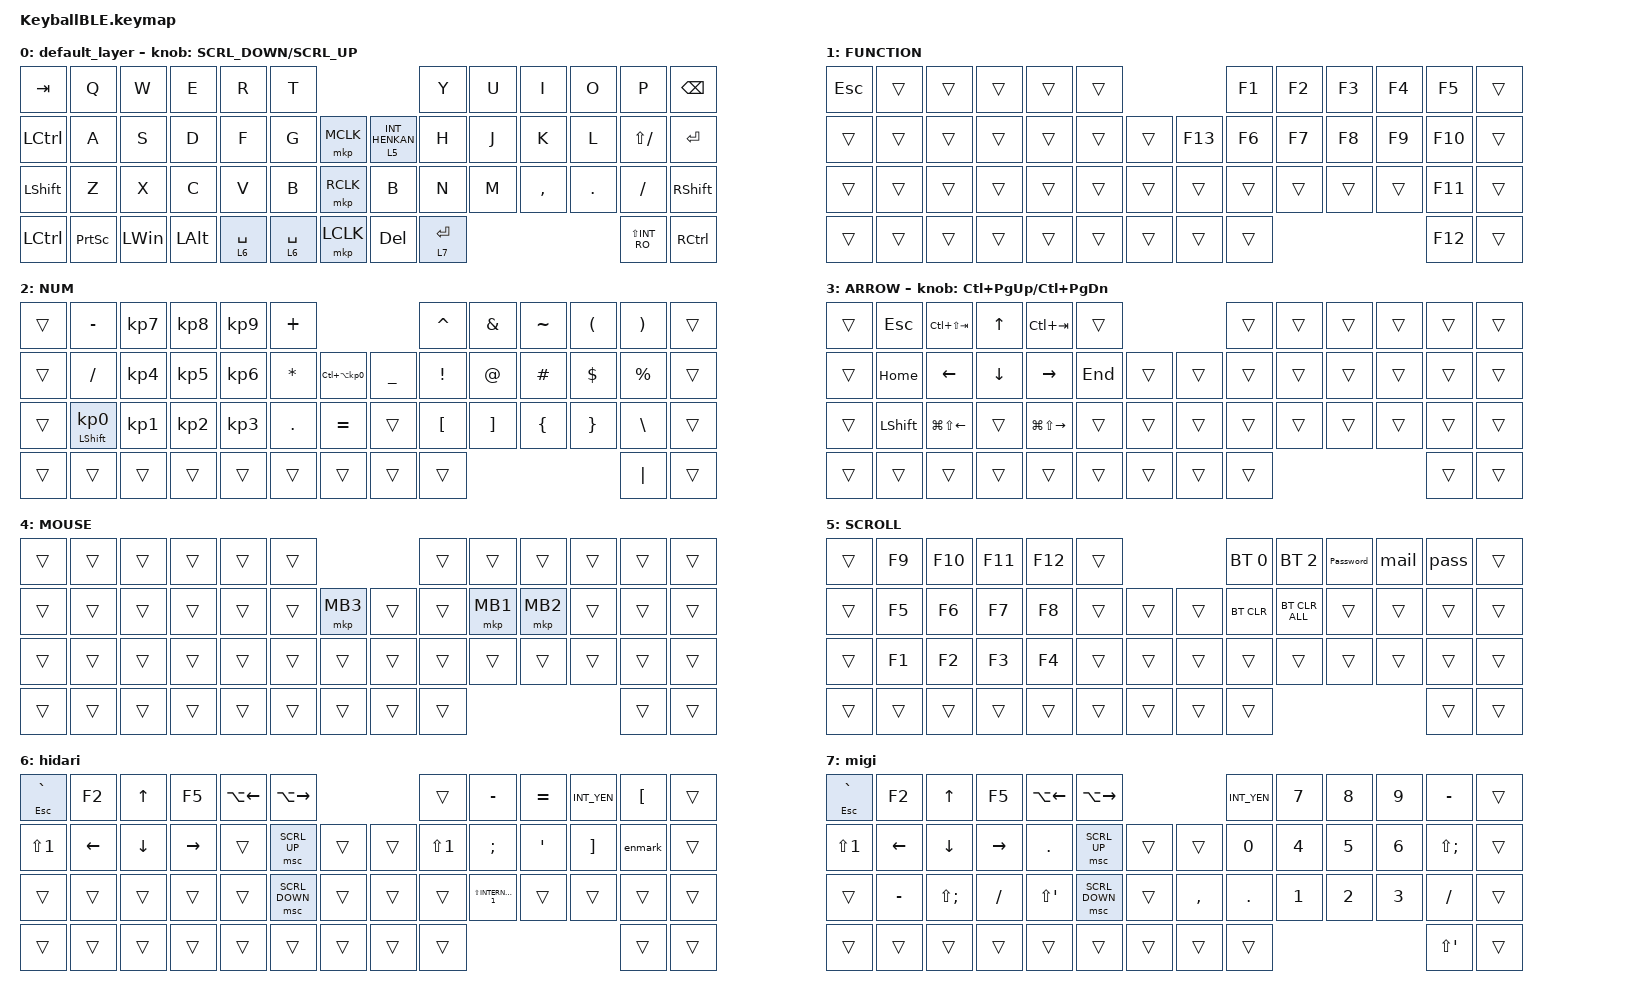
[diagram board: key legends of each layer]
#define ZMK_POINTING_DEFAULT_SCRL_VAL 100    // default: 10

#include <behaviors.dtsi>
#include <dt-bindings/zmk/bt.h>
#include <dt-bindings/zmk/keys.h>
#include <dt-bindings/zmk/pointing.h>

#define MOUSE 4
#define SCROLL 5
#define NUM 6

&mt {
    flavor = "balanced";
    quick-tap-ms = <0>;
};

/ {
    combos {
        compatible = "zmk,combos";

        double_quotation {
            bindings = <&kp DOUBLE_QUOTES>;
            key-positions = <20 21>;
        };
    };

    macros {
        to_layer_0: to_layer_0 {
            compatible = "zmk,behavior-macro-one-param";
            #binding-cells = <1>;
            bindings = <&to 0 &macro_param_1to1 &kp MACRO_PLACEHOLDER>;
            label = "TO_LAYER_0";
        };

        enmark: enmark {
            compatible = "zmk,behavior-macro";
            #binding-cells = <0>;
            bindings = <&kp BSLH>;
            label = "ENMARK";
        };

        under: under {
            compatible = "zmk,behavior-macro";
            #binding-cells = <0>;
            bindings = <&kp UNDERSCORE>;
            label = "UNDER";
        };

        pass: pass {
            compatible = "zmk,behavior-macro";
            #binding-cells = <0>;
            bindings = <&kp LS(K) &kp K &kp N1 &kp N9 &kp N0 &kp N0 &kp N9 &kp N1 &kp K &kp LS(K) &kp LBKT>;
            label = "PASS";
        };

        mail: mail {
            compatible = "zmk,behavior-macro";
            #binding-cells = <0>;
            bindings = <&kp K &kp A &kp W &kp A &kp S &kp A &kp K &kp I &kp DOT &kp K &kp E &kp N &kp O &kp LBKT &kp N &kp E &kp S &kp I &kp C &kp DOT &kp C &kp O &kp M>;
            label = "MAIL";
        };

        Password: new_macro {
            compatible = "zmk,behavior-macro";
            #binding-cells = <0>;
            bindings = <&kp LS(P) &kp LBKT &kp S &kp S &kp W &kp N0 &kp R &kp D>;
            label = "NEW_MACRO";
        };
    };

    behaviors {
        lt_to_layer_0: lt_to_layer_0 {
            compatible = "zmk,behavior-hold-tap";
            label = "LAYER_TAP_TO_0";
            bindings = <&mo>, <&to_layer_0>;

            #binding-cells = <2>;
            tapping-term-ms = <200>;
        };

        ROTATE: ROTATE {
            compatible = "zmk,behavior-sensor-rotate-var";
            label = "ROTATE";
            #sensor-binding-cells = <2>;
            bindings = <&msc>, <&msc>;

            tap-ms = <20>;
        };
    };

    keymap {
        compatible = "zmk,keymap";

        default_layer {
            bindings = <
&kp TAB    &kp Q            &kp W         &kp E         &kp R        &kp T                                       &kp Y        &kp U  &kp I      &kp O    &kp P           &kp BACKSPACE
&kp LCTRL  &kp A            &kp S         &kp D         &kp F        &kp G        &mkp MCLK    &lt 5 INT_HENKAN  &kp H        &kp J  &kp K      &kp L    &kp LS(SLASH)   &kp ENTER
&kp LSHFT  &kp Z            &kp X         &kp C         &kp V        &kp B        &mkp RCLK    &kp B             &kp N        &kp M  &kp COMMA  &kp DOT  &kp FSLH        &kp RSHFT
&kp LCTRL  &kp PRINTSCREEN  &kp LEFT_WIN  &kp LEFT_ALT  &lt 6 SPACE  &lt 6 SPACE  &mkp LCLK    &kp DEL           &lt 7 ENTER                             &kp LS(INT_RO)  &kp RCTRL
            >;

            sensor-bindings = <&ROTATE SCRL_DOWN SCRL_UP>;
        };

        FUNCTION {
            bindings = <
&kp ESCAPE  &trans  &trans  &trans  &trans  &trans                     &kp F1  &kp F2  &kp F3  &kp F4  &kp F5   &trans
&trans      &trans  &trans  &trans  &trans  &trans  &trans    &kp F13  &kp F6  &kp F7  &kp F8  &kp F9  &kp F10  &trans
&trans      &trans  &trans  &trans  &trans  &trans  &trans    &trans   &trans  &trans  &trans  &trans  &kp F11  &trans
&trans      &trans  &trans  &trans  &trans  &trans  &trans    &trans   &trans                          &kp F12  &trans
            >;
        };

        NUM {
            bindings = <
&trans  &kp MINUS                   &kp KP_NUMBER_7  &kp KP_NUMBER_8  &kp KP_NUMBER_9  &kp PLUS                                                 &kp CARET         &kp AMPERSAND      &kp TILDE       &kp LEFT_PARENTHESIS  &kp RIGHT_PARENTHESIS  &trans
&trans  &kp SLASH                   &kp KP_NUMBER_4  &kp KP_NUMBER_5  &kp KP_NUMBER_6  &kp ASTERISK  &kp LC(LA(KP_NUMBER_0))    &kp UNDERSCORE  &kp EXCLAMATION   &kp AT_SIGN        &kp HASH        &kp DOLLAR            &kp PERCENT            &trans
&trans  &mt LEFT_SHIFT KP_NUMBER_0  &kp KP_NUMBER_1  &kp KP_NUMBER_2  &kp KP_NUMBER_3  &kp PERIOD    &kp EQUAL                  &trans          &kp LEFT_BRACKET  &kp RIGHT_BRACKET  &kp LEFT_BRACE  &kp RIGHT_BRACE       &kp BACKSLASH          &trans
&trans  &trans                      &trans           &trans           &trans           &trans        &trans                     &trans          &trans                                                                     &kp PIPE               &trans
            >;
        };

        ARROW {
            bindings = <
&trans  &kp ESCAPE      &kp LC(LS(TAB))         &kp UP_ARROW    &kp LC(TAB)              &trans                     &trans  &trans  &trans  &trans  &trans  &trans
&trans  &kp HOME        &kp LEFT_ARROW          &kp DOWN_ARROW  &kp RIGHT_ARROW          &kp END  &trans    &trans  &trans  &trans  &trans  &trans  &trans  &trans
&trans  &kp LEFT_SHIFT  &kp LG(LS(LEFT_ARROW))  &trans          &kp LG(LS(RIGHT_ARROW))  &trans   &trans    &trans  &trans  &trans  &trans  &trans  &trans  &trans
&trans  &trans          &trans                  &trans          &trans                   &trans   &trans    &trans  &trans                          &trans  &trans
            >;

            sensor-bindings = <&inc_dec_kp LC(PAGE_UP) LC(PAGE_DOWN)>;
        };

        MOUSE {
            bindings = <
&trans  &trans  &trans  &trans  &trans  &trans                      &trans  &trans    &trans    &trans  &trans  &trans
&trans  &trans  &trans  &trans  &trans  &trans  &mkp MB3    &trans  &trans  &mkp MB1  &mkp MB2  &trans  &trans  &trans
&trans  &trans  &trans  &trans  &trans  &trans  &trans      &trans  &trans  &trans    &trans    &trans  &trans  &trans
&trans  &trans  &trans  &trans  &trans  &trans  &trans      &trans  &trans                              &trans  &trans
            >;
        };

        SCROLL {
            bindings = <
&trans  &kp F9  &kp F10  &kp F11  &kp F12  &trans                    &bt BT_SEL 0  &bt BT_SEL 2    &Password  &mail   &pass   &trans
&trans  &kp F5  &kp F6   &kp F7   &kp F8   &trans  &trans    &trans  &bt BT_CLR    &bt BT_CLR_ALL  &trans     &trans  &trans  &trans
&trans  &kp F1  &kp F2   &kp F3   &kp F4   &trans  &trans    &trans  &trans        &trans          &trans     &trans  &trans  &trans
&trans  &trans  &trans   &trans   &trans   &trans  &trans    &trans  &trans                                           &trans  &trans
            >;
        };

        hidari {
            bindings = <
&mt ESCAPE GRAVE  &kp F2    &kp UP_ARROW  &kp F5     &kp LA(LEFT_ARROW)  &kp LA(RIGHT)                     &trans            &kp MINUS                &kp EQUAL  &kp INT_YEN  &kp LEFT_BRACKET  &trans
&kp LS(NUMBER_1)  &kp LEFT  &kp DOWN      &kp RIGHT  &trans              &msc SCRL_UP    &trans    &trans  &kp LS(NUMBER_1)  &kp SEMICOLON            &kp APOS   &kp RBKT     &enmark           &trans
&trans            &trans    &trans        &trans     &trans              &msc SCRL_DOWN  &trans    &trans  &trans            &kp LS(INTERNATIONAL_1)  &trans     &trans       &trans            &trans
&trans            &trans    &trans        &trans     &trans              &trans          &trans    &trans  &trans                                                             &trans            &trans
            >;
        };

        migi {
            bindings = <
&mt ESCAPE GRAVE  &kp F2     &kp UP_ARROW  &kp F5     &kp LA(LEFT_ARROW)  &kp LA(RIGHT)                        &kp INT_YEN  &kp N7        &kp N8        &kp N9        &kp MINUS     &trans
&kp LS(NUMBER_1)  &kp LEFT   &kp DOWN      &kp RIGHT  &kp PERIOD          &msc SCRL_UP    &trans    &trans     &kp N0       &kp NUMBER_4  &kp N5        &kp NUMBER_6  &kp LS(SEMI)  &trans
&trans            &kp MINUS  &kp LS(SEMI)  &kp SLASH  &kp LS(APOS)        &msc SCRL_DOWN  &trans    &kp COMMA  &kp PERIOD   &kp NUMBER_1  &kp NUMBER_2  &kp NUMBER_3  &kp FSLH      &trans
&trans            &trans     &trans        &trans     &trans              &trans          &trans    &trans     &trans                                                 &kp LS(APOS)  &trans
            >;
        };
    };
};
